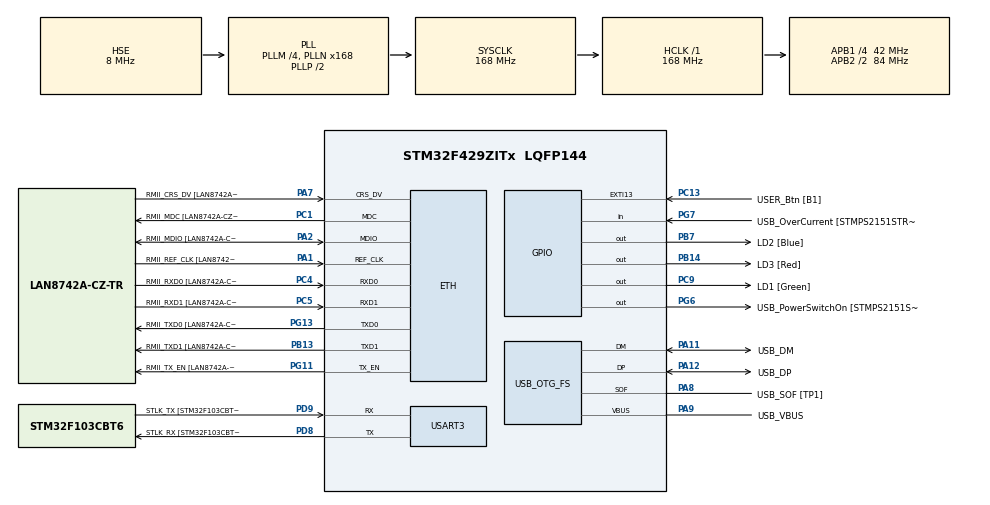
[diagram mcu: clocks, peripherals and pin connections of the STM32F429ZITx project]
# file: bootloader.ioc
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ETH.MediaInterface=ETH_MEDIA_INTERFACE_RMII
ETH.PHY_Name=LAN8742A_PHY_ADDRESS
ETH.PHY_Value=0
ETH.PhyAddress=0
Mcu.Family=STM32F4
Mcu.Name=STM32F429ZITx
Mcu.Package=LQFP144
NVIC.EXTI15_10_IRQn=true\:0\:0\:false\:false\:true\:true\:true
NVIC.PriorityGroup=NVIC_PRIORITYGROUP_4
PA1.GPIO_Label=RMII_REF_CLK [LAN8742A-CZ-TR_REFCLK0]
PA1.Mode=RMII
PA1.Signal=ETH_REF_CLK
PA10.GPIO_Label=USB_ID
PA10.Signal=USB_OTG_FS_ID
PA11.GPIO_Label=USB_DM
PA11.Mode=Device_Only
PA11.Signal=USB_OTG_FS_DM
PA12.GPIO_Label=USB_DP
PA12.Mode=Device_Only
PA12.Signal=USB_OTG_FS_DP
PA13.GPIO_Label=TMS
PA13.Mode=Serial_Wire
PA13.Signal=SYS_JTMS-SWDIO
PA14.GPIO_Label=TCK
PA14.Mode=Serial_Wire
PA14.Signal=SYS_JTCK-SWCLK
PA2.GPIO_Label=RMII_MDIO [LAN8742A-CZ-TR_MDIO]
PA2.Mode=RMII
PA2.Signal=ETH_MDIO
PA7.GPIO_Label=RMII_CRS_DV [LAN8742A-CZ-TR_CRS_DV]
PA7.Mode=RMII
PA7.Signal=ETH_CRS_DV
PA8.GPIO_Label=USB_SOF [TP1]
PA8.Mode=Activate_SOF_FS
PA8.Signal=USB_OTG_FS_SOF
PA9.GPIO_Label=USB_VBUS
PA9.Mode=Activate_VBUS
PA9.Signal=USB_OTG_FS_VBUS
PB13.GPIO_Label=RMII_TXD1 [LAN8742A-CZ-TR_TXD1]
PB13.Mode=RMII
PB13.Signal=ETH_TXD1
PB14.GPIO_Label=LD3 [Red]
PB14.Signal=GPIO_Output
PB7.GPIO_Label=LD2 [Blue]
PB7.Signal=GPIO_Output
PC1.GPIO_Label=RMII_MDC [LAN8742A-CZ-TR_MDC]
PC1.Mode=RMII
PC1.Signal=ETH_MDC
PC13.GPIO_Label=USER_Btn [B1]
PC13.Signal=GPXTI13
PC14/OSC32_IN.Mode=LSE-External-Oscillator
PC14/OSC32_IN.Signal=RCC_OSC32_IN
PC15/OSC32_OUT.Mode=LSE-External-Oscillator
PC15/OSC32_OUT.Signal=RCC_OSC32_OUT
PC4.GPIO_Label=RMII_RXD0 [LAN8742A-CZ-TR_RXD0]
PC4.Mode=RMII
PC4.Signal=ETH_RXD0
PC5.GPIO_Label=RMII_RXD1 [LAN8742A-CZ-TR_RXD1]
PC5.Mode=RMII
PC5.Signal=ETH_RXD1
PC9.GPIO_Label=LD1 [Green]
PC9.Signal=GPIO_Output
PD8.GPIO_Label=STLK_RX [STM32F103CBT6_PA3]
PD8.Mode=Asynchronous
PD8.Signal=USART3_TX
PD9.GPIO_Label=STLK_TX [STM32F103CBT6_PA2]
PD9.Mode=Asynchronous
PD9.Signal=USART3_RX
PG11.GPIO_Label=RMII_TX_EN [LAN8742A-CZ-TR_TXEN]
PG11.Mode=RMII
PG11.Signal=ETH_TX_EN
PG13.GPIO_Label=RMII_TXD0 [LAN8742A-CZ-TR_TXD0]
PG13.Mode=RMII
PG13.Signal=ETH_TXD0
PG6.GPIO_Label=USB_PowerSwitchOn [STMPS2151STR_EN]
PG6.Signal=GPIO_Output
PG7.GPIO_Label=USB_OverCurrent [STMPS2151STR_FAULT]
PG7.Signal=GPIO_Input
PH0/OSC_IN.GPIO_Label=MCO [STM32F103CBT6_PA8]
PH0/OSC_IN.Mode=HSE-External-Clock-Source
PH0/OSC_IN.Signal=RCC_OSC_IN
PH1/OSC_OUT.Mode=HSE-External-Clock-Source
PH1/OSC_OUT.Signal=RCC_OSC_OUT
ProjectManager.HeapSize=0x200
ProjectManager.StackSize=0x400
ProjectManager.TargetToolchain=MDK-ARM V5
RCC.48MHZClocksFreq_Value=48000000
RCC.AHBFreq_Value=168000000
RCC.APB1CLKDivider=RCC_HCLK_DIV4
RCC.APB1Freq_Value=42000000
RCC.APB1TimFreq_Value=84000000
RCC.APB2CLKDivider=RCC_HCLK_DIV2
RCC.APB2Freq_Value=84000000
RCC.APB2TimCLKDivider=2
RCC.APB2TimFreq_Value=168000000
RCC.CortexFreq_Value=168000000
RCC.HCLKFreq_Value=168000000
RCC.HSE_VALUE=8000000
RCC.HSI_VALUE=16000000
RCC.PLLM=4
RCC.PLLMUL=RCC_PLL_MUL9
RCC.PLLN=168
RCC.PLLQ=7
RCC.PRESCALERUSB=RCC_USBCLKSOURCE_PLL_DIV1_5
RCC.SYSCLKFreq_VALUE=168000000
RCC.SYSCLKSource=RCC_SYSCLKSOURCE_PLLCLK
RCC.SYSCLKSourceVirtual=RCC_SYSCLKSOURCE_PLLCLK
RCC.USBFreq_Value=48000000
RCC.VCOOutputFreq_Value=336000000
USART3.VirtualMode=VM_ASYNC
USB_OTG_FS.VirtualMode=Device_Only
VP_CRC_VS_CRC.Mode=CRC_Activate
board=NUCLEO-F429ZI

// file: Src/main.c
/* USER CODE BEGIN Header */
/**
  ******************************************************************************
  * @file           : main.c
  * @brief          : Main program body
  ******************************************************************************
  * @attention
  *
  * <h2><center>&copy; Copyright (c) 2020 STMicroelectronics.
  * All rights reserved.</center></h2>
  *
  * This software component is licensed by ST under BSD 3-Clause license,
  * the "License"; You may not use this file except in compliance with the
  * License. You may obtain a copy of the License at:
  *                        opensource.org/licenses/BSD-3-Clause
  *
  ******************************************************************************
  */
/* USER CODE END Header */

#include <string.h>
#include <stdarg.h>
#include <stdint.h>
#include <stdio.h>
#include "main.h"

/* USER CODE BEGIN PD */
#define FLASH_SECTOR2_BASE_ADDRESS (0x08008000U)

/* USER CODE END PD */

CRC_HandleTypeDef hcrc;

ETH_HandleTypeDef heth;

UART_HandleTypeDef huart3;

PCD_HandleTypeDef hpcd_USB_OTG_FS;

/* USER CODE BEGIN PV */
volatile uint8_t button_press = 0;
uint8_t bl_rx_buffer[256];

uint8_t supported_commands[] = {
                               BL_GET_VER ,
                               BL_GET_HELP,
                               BL_GET_CID,
                               BL_GET_RDP_STATUS,
                               BL_GO_TO_ADDR,
                               BL_FLASH_ERASE,
                               BL_MEM_WRITE,
                               BL_READ_SECTOR_P_STATUS};

/* USER CODE END PV */

void SystemClock_Config(void);
static void MX_GPIO_Init(void);
static void MX_CRC_Init(void);
static void MX_USART3_UART_Init(void);
/* USER CODE BEGIN PFP */
void bootloader_uart_read_data();
void bootloader_jump_to_user_app();

/* USER CODE END PFP */

/* USER CODE BEGIN 0 */

void printmsg(char *format,...)
 {
	char str[80];

	/*Extract the the argument list using VA apis */
	va_list args;
	va_start(args, format);
	vsprintf(str, format,args);
	HAL_UART_Transmit(&huart3,(uint8_t *)str, strlen(str),HAL_MAX_DELAY);
	va_end(args);
 }

 uint8_t bootloader_verify_crc(uint8_t *pData, uint8_t len, uint32_t host_crc)
 {
	 uint32_t computedCRCValue = 0xff;
	 for (uint32_t i = 0; i < len; i++)
	 {
		 uint32_t data = pData[i];
		 computedCRCValue = HAL_CRC_Accumulate(&hcrc, &data, 1);
	 }

	 __HAL_CRC_DR_RESET(&hcrc);

	 if(computedCRCValue == host_crc)
	 {
		 return 0;  //success
	 }
	 return 1; // failure
 }

 uint8_t verify_go_address(uint32_t go_address)
 {
	  if( go_address >= SRAM1_BASE && go_address <= SRAM1_END)
		{
			return 0;
		}
		else  if( go_address >= SRAM2_BASE && go_address <= SRAM2_END)
		{
			return 0;
		}
		else if( go_address >= SRAM3_BASE && go_address <= SRAM3_END)
	  {
			return 0;
		}
		else if( go_address >= FLASH_BASE && go_address <= FLASH_END)
    {
      return 0;
    }
    else if (go_address >= SYSTEM_MEMORY_START && go_address <= SYSTEM_MEMORY_END)
		{
      return 0;
    }
		else
		{
			return 1;
		}
	 return 1;
 }

 /*This function sends NACK */
void bootloader_send_nack(void)
{
	uint8_t nack = BL_NACK;
	HAL_UART_Transmit(&huart3,&nack,1,HAL_MAX_DELAY);
}

void bootloader_send_ack(uint8_t command_code, uint8_t follow_len)
{
   uint8_t ack_buf[2];
   ack_buf[0] = BL_ACK;
   ack_buf[1] = follow_len;

	HAL_UART_Transmit(&huart3,ack_buf,2,HAL_MAX_DELAY);

}

/* This function writes data in to C_UART */
void bootloader_uart_write_data(uint8_t *pBuffer,uint32_t len)
{
    /*you can replace the below ST's USART driver API call with your MCUs driver API call */
	HAL_UART_Transmit(&huart3,pBuffer,len,HAL_MAX_DELAY);

}

/** bootloader get version **/
void bootloader_handle_getver_cmd(uint8_t *bl_rx_buffer)
{
	uint32_t command_len = 0;
	uint32_t host_crc = 0;
	command_len = bl_rx_buffer[0] + 1;
	uint8_t bl_version;

	host_crc = *(uint32_t *) (bl_rx_buffer + command_len - 4);
	//bl_len is the length to follow so bl_len will point to the end of the packet.
	// we know the last 4 bytes are CRC so we should 4 i.e. 4th last element is the base address of CRC.
	if (bootloader_verify_crc(&bl_rx_buffer[0], command_len - 4, host_crc ) == 0)
	{
		// success i.e. return is 0.
		bootloader_send_ack(bl_rx_buffer[0], 1);
		bl_version = 0x10;
		bootloader_uart_write_data(&bl_version, 1);

	}
	else
	{
		 //failure. i.e. return is 1.
		bootloader_send_nack();
	}

}

/** bootloader get help - supported commands **/
void bootloader_handle_gethelp_cmd(uint8_t *pBuffer)
{
	uint32_t command_len = 0;
	uint32_t host_crc = 0;
	command_len = bl_rx_buffer[0] + 1;
	uint8_t bl_version;

	host_crc = *(uint32_t *) (bl_rx_buffer + command_len - 4);
	//bl_len is the length to follow so bl_len will point to the end of the packet.
	// we know the last 4 bytes are CRC so we should 4 i.e. 4th last element is the base address of CRC.
	if (bootloader_verify_crc(&bl_rx_buffer[0], command_len - 4, host_crc ) == 0)
	{
		// success i.e. return is 0.
		bootloader_send_ack(bl_rx_buffer[0], sizeof(supported_commands));
		bootloader_uart_write_data(supported_commands, sizeof(supported_commands));
	}
	else
	{
		 //failure. i.e. return is 1.
		bootloader_send_nack();
	}
}

/** bootloader get chip identification number **/
/** CID - Chip identification number 2 bytes **/
void bootloader_handle_getcid_cmd(uint8_t *pBuffer)
{
	/**MCU ID Code **/
	/** DBGMCU_IDCODE - register - 0xE004 2000  **/
	/** DEV_ID[11:0] **/
	/* 0x419 **/
	/** Reference manual page 1745 **/
	volatile uint32_t *pDbgMCU = (uint32_t *)0xE0042000U;
	uint16_t mcu_id = *pDbgMCU & ( 0x0FFF);
	uint32_t command_len = 0;
	uint32_t host_crc = 0;
	command_len = bl_rx_buffer[0] + 1;

	host_crc = *(uint32_t *) (bl_rx_buffer + command_len - 4);
	//bl_len is the length to follow so bl_len will point to the end of the packet.
	// we know the last 4 bytes are CRC so we should 4 i.e. 4th last element is the base address of CRC.
	if (bootloader_verify_crc(&bl_rx_buffer[0], command_len - 4, host_crc ) == 0)
	{
		// success i.e. return is 0.
		// 2 bytes MCU Id
		bootloader_send_ack(bl_rx_buffer[0], 2);
		bootloader_uart_write_data((uint8_t *)&mcu_id, 2);
	}
	else
	{
		 //failure. i.e. return is 1.
		bootloader_send_nack();
	}

}

/** Flash Read protection status **/
void bootloader_handle_getrdp_cmd(uint8_t *pBuffer)
{
	// option bytes - Reference Manual - Table 16 - Bits 15:8
	volatile uint32_t *pOptionBytes = (uint32_t *)0x1FFFC000U;
  uint8_t protection_level = (*pOptionBytes) >> 8;
	uint32_t command_len = 0;
	uint32_t host_crc = 0;
	command_len = pBuffer[0] + 1;

	host_crc = *(uint32_t *) (pBuffer + command_len - 4);
	//bl_len is the length to follow so bl_len will point to the end of the packet.
	// we know the last 4 bytes are CRC so we should 4 i.e. 4th last element is the base address of CRC.
	if (bootloader_verify_crc(pBuffer, command_len - 4, host_crc ) == 0)
	{
		// success i.e. return is 0.
		// 2 bytes MCU Id
		bootloader_send_ack(*pBuffer, 1);
		/* 0xAA means no protection level */
		bootloader_uart_write_data((uint8_t *)&protection_level, 1);
	}
	else
	{
		 //failure. i.e. return is 1.
		bootloader_send_nack();
	}
}

void bootloader_handle_go_cmd(uint8_t *pBuffer)
{
  uint32_t go_address;
	uint32_t command_len = 0;
	uint32_t host_crc = 0;
	command_len = pBuffer[0] + 1;
	uint8_t valid = 0;
	uint8_t invalid = 1;

	host_crc = *(uint32_t *) (pBuffer + command_len - 4);
	//bl_len is the length to follow so bl_len will point to the end of the packet.
	// we know the last 4 bytes are CRC so we should 4 i.e. 4th last element is the base address of CRC.
	if (bootloader_verify_crc(pBuffer, command_len - 4, host_crc ) == 0)
	{
		bootloader_send_ack(*pBuffer, 1);
		// success i.e. return is 0.
		//4 byte base address - length to follow ( 1byte)->Command Code ( 1 byte) -> Memory Address ( 4 bytes) -> CRC ( 4 bytes).
		go_address = *((uint32_t *)&pBuffer[2]);
		if( verify_go_address(go_address) == 0) // success
		{
			// valid is 0
			bootloader_uart_write_data(&valid,1);
			go_address +=1; //Make T-bit to 1.
			void (*lets_jump)() = (void *)go_address;
			lets_jump();
		}
		else
		{
			bootloader_uart_write_data(&invalid,1);
		}
	}
	else
	{
		 //failure. i.e. return is 1.
		bootloader_send_nack();
	}
}

uint8_t execute_flash_erase(uint8_t sector_number, uint8_t number_of_sectors)
{
	HAL_StatusTypeDef status;
	uint32_t SectorError;
	FLASH_EraseInitTypeDef flash;

	if( sector_number == 0xff) //mass erase.
	{
		flash.TypeErase = FLASH_TYPEERASE_MASSERASE;
	}
	else // sector erase.
	{
		flash.TypeErase = FLASH_TYPEERASE_SECTORS;
		flash.Sector = sector_number;  // initial sector.
		flash.NbSectors = number_of_sectors;
	}
	flash.Banks = FLASH_BANK_1;
	flash.VoltageRange = FLASH_VOLTAGE_RANGE_3; //2.7 to 3.6V
	HAL_FLASH_Unlock(); // unlock the flash so that it can be erased.
	status = HAL_FLASHEx_Erase(&flash, &SectorError);
	HAL_FLASH_Lock();  // lock the flash back.
	return status;
}

//length to follow ( 1 byte) ->Command Code  ( 1 byte) -> Sector Number  ( 1 byte) -> Number of sectors  ( 1 byte) -> CRC ( 4 bytes)
void bootloader_handle_flash_erase_cmd(uint8_t *pBuffer)
{
	// if sector number is 0xff then perform mass erase.
	uint32_t command_len = 0;
	uint32_t host_crc = 0;
	command_len = pBuffer[0] + 1;
	uint8_t status;

	host_crc = *(uint32_t *) (pBuffer + command_len - 4);
	//bl_len is the length to follow so bl_len will point to the end of the packet.
	// we know the last 4 bytes are CRC so we should 4 i.e. 4th last element is the base address of CRC.
	if (bootloader_verify_crc(pBuffer, command_len - 4, host_crc ) == 0)
	{
		// success i.e. return is 0.
		bootloader_send_ack(*pBuffer, 1);
		//PB7 - Blue LED - Turn on - while the Sector is getting erased.
		HAL_GPIO_WritePin(GPIOB, GPIO_PIN_7, GPIO_PIN_SET);
		status = execute_flash_erase(pBuffer[2], pBuffer[3]);
		HAL_GPIO_WritePin(GPIOB, GPIO_PIN_7, GPIO_PIN_RESET);
		bootloader_uart_write_data((uint8_t *)&status, 1);
	}
	else
	{
		 //failure. i.e. return is 1.
		bootloader_send_nack();
	}

}

uint8_t execute_mem_write(uint8_t *pBuffer, uint8_t size, uint32_t mem_address)
{
  uint8_t status;
	HAL_FLASH_Unlock();

	for ( uint32_t i = 0; i < size; i++)
	{
		status = HAL_FLASH_Program(FLASH_TYPEPROGRAM_BYTE,mem_address+i,pBuffer[i]);
	}

	HAL_FLASH_Lock();

	return status;
}

/** length to follow ( 1 byte) -> Command Code ( 1 byte) -> Base Memory address ( 4 bytes) -> Payload Length ( 1 byte) -> Payload ( x bytes) - > CRC. */
void bootloader_handle_mem_write_cmd(uint8_t *pBuffer)
{

	uint32_t command_len = 0;
	uint32_t host_crc = 0;
	command_len = pBuffer[0] + 1;
	uint8_t status;
	uint32_t mem_address;
	uint8_t payload_len;
	uint8_t *payloadBuffer;

	host_crc = *(uint32_t *) (pBuffer + command_len - 4);
	//bl_len is the length to follow so bl_len will point to the end of the packet.
	// we know the last 4 bytes are CRC so we should 4 i.e. 4th last element is the base address of CRC.
	if (bootloader_verify_crc(pBuffer, command_len - 4, host_crc ) == 0)
	{
		bootloader_send_ack(*pBuffer, 1);
		mem_address =  *((uint32_t *)&pBuffer[2]);
		payload_len = pBuffer[6];
		payloadBuffer = &pBuffer[7];

		status = execute_mem_write(payloadBuffer,payload_len, mem_address);
		bootloader_uart_write_data((uint8_t *)&status, 1);
	}
	else
	{

		 //failure. i.e. return is 1.
		bootloader_send_nack();
	}
}

uint8_t execute_enable_disable_protection_flash(uint8_t sector_details, uint8_t protection_mode, uint8_t disable)
{
	uint8_t status = 0;
	//Check the page - Table 1. STM32F4xx register boundary addresses
	// base address is 0x40023C00 + flash OPTCTR 0x14 Page - 108.
	volatile uint32_t *pOPTCR = (uint32_t *) (0x40023C00 + 0x14);

	HAL_FLASH_OB_Unlock();
	// wait until the flash isn't busy.
	while ( __HAL_FLASH_GET_FLAG(FLASH_FLAG_BSY) != RESET);

   if(disable)
	 {
		 // disable rw protection - change to default value
		 *pOPTCR &= ~(0x1U << 31);  //SPRMOD -- 0
		 // bits 16 to 27 i.e. 11 bits make it to 1.
		 *pOPTCR |= (0XFF7 << 16);
	 }
	 else
	 {

		 if(protection_mode == 1) // write protection
		 {

			 // Bit 31 should be 0 i.e not enabling PCROP - Page 108 - SPRMOD
			 *pOPTCR &= ~(0x1U << 31);

			 // bit 16 to 27 for setting up sectors that need to be protected.
			 // 0 to make it write protective.
			 *pOPTCR &= ~(sector_details << 16);
		 }
		 else // Read write protection.
		 {
			  //Bit 31 - should be 1
			  *pOPTCR |= ( 0x1U << 31);
			  // bit 16 to 27 for setting up sectors that need to be protected.
			  *pOPTCR |= (sector_details << 16);
		 }
	 }
	 //set the option Start bit.
	 *pOPTCR |= (0x1U << 1);
	 while ( __HAL_FLASH_GET_FLAG(FLASH_FLAG_BSY) != RESET);
	 HAL_FLASH_OB_Lock();

	return status;
}

/* length to follow (1byte)-> Command ( 1byte) ->  sector details (1 byte) -> protection mode ( 1 byte) -> CRC ( 4 bytes) */
void bootloader_handle_en_rw_protect(uint8_t *pBuffer)
{
	uint32_t command_len = 0;
	uint32_t host_crc = 0;
	command_len = pBuffer[0] + 1;
	uint8_t status;
  uint8_t sector_details;
	uint8_t protection_mode;

	host_crc = *(uint32_t *) (pBuffer + command_len - 4);
	//bl_len is the length to follow so bl_len will point to the end of the packet.
	// we know the last 4 bytes are CRC so we should 4 i.e. 4th last element is the base address of CRC.
	if (bootloader_verify_crc(pBuffer, command_len - 4, host_crc ) == 0)
	{
		bootloader_send_ack(*pBuffer, 1);
		sector_details = pBuffer[2];
		protection_mode = pBuffer[3];
		status = execute_enable_disable_protection_flash(sector_details,protection_mode, 0);
		bootloader_uart_write_data((uint8_t *)&status, 1);
	}
	else
	{
		 //failure. i.e. return is 1.
		bootloader_send_nack();
	}

}

void bootloader_handle_dis_rw_protect(uint8_t *pBuffer)
{
	uint32_t command_len = 0;
	uint32_t host_crc = 0;
	command_len = pBuffer[0] + 1;
	uint8_t status;
  uint8_t sector_details;
	uint8_t protection_mode;

	host_crc = *(uint32_t *) (pBuffer + command_len - 4);
	//bl_len is the length to follow so bl_len will point to the end of the packet.
	// we know the last 4 bytes are CRC so we should 4 i.e. 4th last element is the base address of CRC.
	if (bootloader_verify_crc(pBuffer, command_len - 4, host_crc ) == 0)
	{
		bootloader_send_ack(*pBuffer, 1);
		sector_details = pBuffer[2];
		protection_mode = pBuffer[3];
		status = execute_enable_disable_protection_flash(sector_details,protection_mode, 1);
		bootloader_uart_write_data((uint8_t *)&status, 1);
	}
	else
	{
		//failure. i.e. return is 1.
		bootloader_send_nack();
	}

}

void bootloader_handle_mem_read (uint8_t *pBuffer)
{

}

uint16_t execute_read_protection()
{
	FLASH_OBProgramInitTypeDef OBInit;
	// First unlock the OB( option byte) memory access
	HAL_FLASH_OB_Unlock();
	//get the OB configuration details
	HAL_FLASHEx_OBGetConfig(&OBInit);
	HAL_FLASH_OB_Lock();

	return (uint16_t)OBInit.WRPSector;

}

void bootloader_handle_read_sector_protection_status(uint8_t *pBuffer)
{
	uint32_t command_len = 0;
	uint32_t host_crc = 0;
	command_len = pBuffer[0] + 1;
	uint16_t status;
  uint8_t sector_details;
	uint8_t protection_mode;

	host_crc = *(uint32_t *) (pBuffer + command_len - 4);
	//bl_len is the length to follow so bl_len will point to the end of the packet.
	// we know the last 4 bytes are CRC so we should 4 i.e. 4th last element is the base address of CRC.
	if (bootloader_verify_crc(pBuffer, command_len - 4, host_crc ) == 0)
	{
		bootloader_send_ack(*pBuffer, 1);
		status = execute_read_protection();
		bootloader_uart_write_data((uint8_t *)&status, 2);
	}
	else
	{
		//failure. i.e. return is 1.
		bootloader_send_nack();
	}
}

void bootloader_handle_read_otp(uint8_t *pBuffer)
{

}

/* USER CODE END 0 */

int main(void)
{

  /* MCU Configuration--------------------------------------------------------*/

  /* Reset of all peripherals, Initializes the Flash interface and the Systick. */
  HAL_Init();

  /* Configure the system clock */
  SystemClock_Config();

  /* Initialize all configured peripherals */
  MX_GPIO_Init();
  MX_CRC_Init();
//  MX_ETH_Init();
  MX_USART3_UART_Init();
//  MX_USB_OTG_FS_PCD_Init();
  /* USER CODE BEGIN 2 */
	//User code -- our code.
	if( button_press == 1)
	{
			//returns 0 if the button is not pressed.

		 bootloader_uart_read_data();
	}
	else
	{
		 bootloader_uart_read_data();
		 //bootloader_jump_to_user_app();
	}

  /* USER CODE END 2 */
}

void SystemClock_Config(void)
{
  RCC_OscInitTypeDef RCC_OscInitStruct = {0};
  RCC_ClkInitTypeDef RCC_ClkInitStruct = {0};

  /** Configure the main internal regulator output voltage
  */
  __HAL_RCC_PWR_CLK_ENABLE();
  __HAL_PWR_VOLTAGESCALING_CONFIG(PWR_REGULATOR_VOLTAGE_SCALE1);
  /** Initializes the CPU, AHB and APB busses clocks
  */
  RCC_OscInitStruct.OscillatorType = RCC_OSCILLATORTYPE_HSE;
  RCC_OscInitStruct.HSEState = RCC_HSE_BYPASS;
  RCC_OscInitStruct.PLL.PLLState = RCC_PLL_ON;
  RCC_OscInitStruct.PLL.PLLSource = RCC_PLLSOURCE_HSE;
  RCC_OscInitStruct.PLL.PLLM = 4;
  RCC_OscInitStruct.PLL.PLLN = 168;
  RCC_OscInitStruct.PLL.PLLP = RCC_PLLP_DIV2;
  RCC_OscInitStruct.PLL.PLLQ = 7;
  if (HAL_RCC_OscConfig(&RCC_OscInitStruct) != HAL_OK)
  {
    Error_Handler();
  }
  /** Initializes the CPU, AHB and APB busses clocks
  */
  RCC_ClkInitStruct.ClockType = RCC_CLOCKTYPE_HCLK|RCC_CLOCKTYPE_SYSCLK
                              |RCC_CLOCKTYPE_PCLK1|RCC_CLOCKTYPE_PCLK2;
  RCC_ClkInitStruct.SYSCLKSource = RCC_SYSCLKSOURCE_PLLCLK;
  RCC_ClkInitStruct.AHBCLKDivider = RCC_SYSCLK_DIV1;
  RCC_ClkInitStruct.APB1CLKDivider = RCC_HCLK_DIV4;
  RCC_ClkInitStruct.APB2CLKDivider = RCC_HCLK_DIV2;

  if (HAL_RCC_ClockConfig(&RCC_ClkInitStruct, FLASH_LATENCY_5) != HAL_OK)
  {
    Error_Handler();
  }
}

static void MX_CRC_Init(void)
{

  hcrc.Instance = CRC;
  if (HAL_CRC_Init(&hcrc) != HAL_OK)
  {
    Error_Handler();
  }

}

static void MX_USART3_UART_Init(void)
{

  huart3.Instance = USART3;
  huart3.Init.BaudRate = 115200;
  huart3.Init.WordLength = UART_WORDLENGTH_8B;
  huart3.Init.StopBits = UART_STOPBITS_1;
  huart3.Init.Parity = UART_PARITY_NONE;
  huart3.Init.Mode = UART_MODE_TX_RX;
  huart3.Init.HwFlowCtl = UART_HWCONTROL_NONE;
  huart3.Init.OverSampling = UART_OVERSAMPLING_16;
  if (HAL_UART_Init(&huart3) != HAL_OK)
  {
    Error_Handler();
  }

}

static void MX_GPIO_Init(void)
{
  GPIO_InitTypeDef GPIO_InitStruct = {0};

  /* GPIO Ports Clock Enable */
  __HAL_RCC_GPIOC_CLK_ENABLE();
  __HAL_RCC_GPIOH_CLK_ENABLE();
  __HAL_RCC_GPIOA_CLK_ENABLE();
  __HAL_RCC_GPIOB_CLK_ENABLE();
  __HAL_RCC_GPIOD_CLK_ENABLE();
  __HAL_RCC_GPIOG_CLK_ENABLE();

  /*Configure GPIO pin Output Level */
  HAL_GPIO_WritePin(GPIOB, LD3_Pin|LD2_Pin, GPIO_PIN_RESET);

  /*Configure GPIO pin Output Level */
  HAL_GPIO_WritePin(USB_PowerSwitchOn_GPIO_Port, USB_PowerSwitchOn_Pin, GPIO_PIN_RESET);

  /*Configure GPIO pin Output Level */
  HAL_GPIO_WritePin(LD1_GPIO_Port, LD1_Pin, GPIO_PIN_RESET);

  /*Configure GPIO pin : USER_Btn_Pin */
  GPIO_InitStruct.Pin = USER_Btn_Pin;
  GPIO_InitStruct.Mode = GPIO_MODE_IT_RISING;
  GPIO_InitStruct.Pull = GPIO_NOPULL;
  HAL_GPIO_Init(USER_Btn_GPIO_Port, &GPIO_InitStruct);

  /*Configure GPIO pins : LD3_Pin LD2_Pin */
  GPIO_InitStruct.Pin = LD3_Pin|LD2_Pin;
  GPIO_InitStruct.Mode = GPIO_MODE_OUTPUT_PP;
  GPIO_InitStruct.Pull = GPIO_NOPULL;
  GPIO_InitStruct.Speed = GPIO_SPEED_FREQ_LOW;
  HAL_GPIO_Init(GPIOB, &GPIO_InitStruct);

  /*Configure GPIO pin : USB_PowerSwitchOn_Pin */
  GPIO_InitStruct.Pin = USB_PowerSwitchOn_Pin;
  GPIO_InitStruct.Mode = GPIO_MODE_OUTPUT_PP;
  GPIO_InitStruct.Pull = GPIO_NOPULL;
  GPIO_InitStruct.Speed = GPIO_SPEED_FREQ_LOW;
  HAL_GPIO_Init(USB_PowerSwitchOn_GPIO_Port, &GPIO_InitStruct);

  /*Configure GPIO pin : USB_OverCurrent_Pin */
  GPIO_InitStruct.Pin = USB_OverCurrent_Pin;
  GPIO_InitStruct.Mode = GPIO_MODE_INPUT;
  GPIO_InitStruct.Pull = GPIO_NOPULL;
  HAL_GPIO_Init(USB_OverCurrent_GPIO_Port, &GPIO_InitStruct);

  /*Configure GPIO pin : LD1_Pin */
  GPIO_InitStruct.Pin = LD1_Pin;
  GPIO_InitStruct.Mode = GPIO_MODE_OUTPUT_PP;
  GPIO_InitStruct.Pull = GPIO_NOPULL;
  GPIO_InitStruct.Speed = GPIO_SPEED_FREQ_LOW;
  HAL_GPIO_Init(LD1_GPIO_Port, &GPIO_InitStruct);

  /* EXTI interrupt init*/
  HAL_NVIC_SetPriority(EXTI15_10_IRQn, 0, 0);
  HAL_NVIC_EnableIRQ(EXTI15_10_IRQn);

}

/* USER CODE BEGIN 4 */
void bootloader_uart_read_data()
{
	 uint8_t recv_len = 0;

	  while(1)
		{
			 memset(bl_rx_buffer,0,256);
			  //read 1 bytes i.e. length to follow.
			 HAL_UART_Receive(&huart3, bl_rx_buffer,1,HAL_MAX_DELAY);
			 recv_len = bl_rx_buffer[0];
			 // read all the remaining bytes of th command byte.
			// Command code -- and CRC ( 4 bytes)
			 HAL_UART_Receive(&huart3, &bl_rx_buffer[1], recv_len, HAL_MAX_DELAY);
			 switch(bl_rx_buffer[1])
			 {
				 case BL_GET_VER:
                bootloader_handle_getver_cmd(bl_rx_buffer);
                break;
            case BL_GET_HELP:
                bootloader_handle_gethelp_cmd(bl_rx_buffer);
                break;
            case BL_GET_CID:
                bootloader_handle_getcid_cmd(bl_rx_buffer);
                break;
            case BL_GET_RDP_STATUS:
                bootloader_handle_getrdp_cmd(bl_rx_buffer);
                break;
            case BL_GO_TO_ADDR:
                bootloader_handle_go_cmd(bl_rx_buffer);
                break;
            case BL_FLASH_ERASE:
                bootloader_handle_flash_erase_cmd(bl_rx_buffer);
                break;
            case BL_MEM_WRITE:
                bootloader_handle_mem_write_cmd(bl_rx_buffer);
                break;
            case BL_EN_RW_PROTECT:
                bootloader_handle_en_rw_protect(bl_rx_buffer);
                break;
            case BL_MEM_READ:
                bootloader_handle_mem_read(bl_rx_buffer);
                break;
            case BL_READ_SECTOR_P_STATUS:
                bootloader_handle_read_sector_protection_status(bl_rx_buffer);
                break;
            case BL_OTP_READ:
                bootloader_handle_read_otp(bl_rx_buffer);
                break;
						case BL_DIS_R_W_PROTECT:
                bootloader_handle_dis_rw_protect(bl_rx_buffer);
                break;
             default:
							 printmsg("Invalid options from host\r\n");
                break;
			 }
		}
}

void bootloader_jump_to_user_app()
{
	void (*app_reset_handler)(void);
	uint32_t msp_value;
  msp_value	= *(volatile uint32_t *) FLASH_SECTOR2_BASE_ADDRESS;
  __set_MSP(msp_value);
	uint32_t resethandler_address;
	resethandler_address = *(volatile uint32_t *) (FLASH_SECTOR2_BASE_ADDRESS + 4);
	app_reset_handler = (void*) resethandler_address;
	//jump to reset handler of the application.
	//Driver/CMSIS/system_stm32f4xx.c -  VECT_TAB_OFFSET  0x8000
	// Jump to reset handler of the user application.
	app_reset_handler();
}

/* USER CODE END 4 */

void Error_Handler(void)
{
}

/************************ (C) COPYRIGHT STMicroelectronics *****END OF FILE****/
